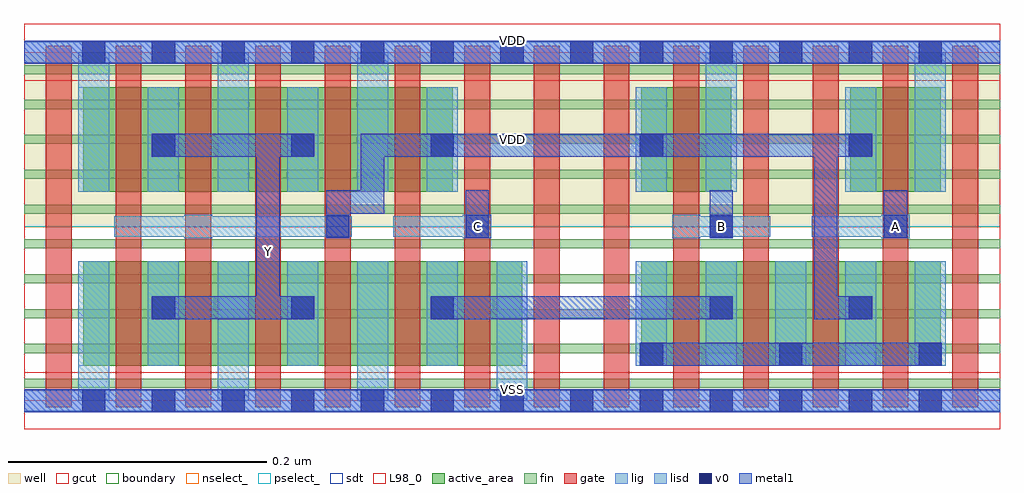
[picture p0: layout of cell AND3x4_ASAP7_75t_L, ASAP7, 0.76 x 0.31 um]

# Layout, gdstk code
import gdstk
lib = gdstk.Library(unit=1e-6, precision=2.5e-10)
def R(c, l, rs):  # rectangles x0, y0, x1, y1
    for r in rs: c.add(gdstk.rectangle(r[:2], r[2:], *l))
def A(c, l, x, y, w, h, nx, ny, dx, dy):  # array of equal rectangles
    R(c, l, [(x+i*dx, y+j*dy, x+i*dx+w, y+j*dy+h) for i in range(nx) for j in range(ny)])
def P(c, l, *ps):  # polygons
    for p in ps: c.add(gdstk.Polygon(p, *l))
well = (1, 0)
fin = (2, 0)
gate = (7, 0)
gcut = (10, 0)
active_area = (11, 0)
nselect_ = (12, 0)
pselect_ = (13, 0)
lig = (16, 0)
lisd = (17, 0)
v0 = (18, 0)
metal1 = (19, 0)
sdt = (88, 0)
L98_0 = (98, 0)
boundary = (100, 0)

and3x4_asap7_75t_l = lib.new_cell('AND3x4_ASAP7_75t_L')
R(and3x4_asap7_75t_l, well, [(0,0.135,0.756,0.27)])
A(and3x4_asap7_75t_l, fin, 0, 0.01, 0.756, 0.007, 1, 10, 0, 0.027)
A(and3x4_asap7_75t_l, gate, 0.017, -0.005, 0.02, 0.28, 14, 1, 0.054, 0)
R(and3x4_asap7_75t_l, gcut, [(0,-0.022,0.756,0.022), (0,0.248,0.756,0.292)])
R(and3x4_asap7_75t_l, active_area, [(0.046,0.027,0.386,0.108), (0.478,0.027,0.71,0.108), (0.046,0.162,0.332,0.243), (0.478,0.162,0.548,0.243), (0.64,0.162,0.71,0.243)])
R(and3x4_asap7_75t_l, nselect_, [(0,0,0.756,0.135)])
R(and3x4_asap7_75t_l, pselect_, [(0,0.135,0.756,0.27)])
A(and3x4_asap7_75t_l, lig, 0.34, 0.126, 0.022, 0.018, 3, 1, 0.162, 0)
R(and3x4_asap7_75t_l, lig, [(0,-0.008,0.756,0.008), (0.124,0.126,0.146,0.144), (0.07,0.127,0.254,0.143), (0.286,0.127,0.362,0.143), (0.502,0.127,0.578,0.143), (0.61,0.127,0.686,0.143), (0,0.262,0.756,0.278)])
A(and3x4_asap7_75t_l, lisd, 0.096, 0.027, 0.024, 0.081, 3, 2, 0.108, 0.135)
A(and3x4_asap7_75t_l, lisd, 0.474, 0.027, 0.024, 0.081, 5, 1, 0.054, 0)
R(and3x4_asap7_75t_l, lisd, [(0.042,0,0.066,0.108), (0.042,0,0.066,0.108), (0.15,0,0.174,0.108), (0.15,0,0.174,0.108), (0.258,0,0.282,0.108), (0.258,0,0.282,0.108), (0.366,0,0.39,0.108), (0.366,0,0.39,0.108), (0.042,0.162,0.066,0.27), (0.042,0.162,0.066,0.27), (0.15,0.162,0.174,0.27), (0.15,0.162,0.174,0.27), (0.258,0.162,0.282,0.27), (0.258,0.162,0.282,0.27), (0.474,0.162,0.498,0.243), (0.528,0.162,0.552,0.27), (0.528,0.162,0.552,0.27), (0.636,0.162,0.66,0.243), (0.69,0.162,0.714,0.27), (0.69,0.162,0.714,0.27)])
A(and3x4_asap7_75t_l, v0, 0.045, -0.009, 0.018, 0.018, 13, 2, 0.054, 0.27)
A(and3x4_asap7_75t_l, v0, 0.477, 0.027, 0.018, 0.018, 3, 1, 0.108, 0)
A(and3x4_asap7_75t_l, v0, 0.099, 0.063, 0.018, 0.018, 3, 2, 0.108, 0.126)
R(and3x4_asap7_75t_l, v0, [(0.531,0.063,0.549,0.081), (0.639,0.063,0.657,0.081), (0.234,0.126,0.252,0.144), (0.342,0.126,0.36,0.144), (0.531,0.126,0.549,0.144), (0.666,0.126,0.684,0.144), (0.477,0.189,0.495,0.207), (0.639,0.189,0.657,0.207)])
A(and3x4_asap7_75t_l, metal1, 0.477, 0.027, 0.018, 0.018, 3, 1, 0.108, 0)
A(and3x4_asap7_75t_l, metal1, 0.099, 0.063, 0.018, 0.018, 3, 2, 0.108, 0.126)
R(and3x4_asap7_75t_l, metal1, [(0,-0.009,0.756,0.009), (0.477,0.027,0.711,0.045), (0.315,0.063,0.549,0.081), (0.531,0.063,0.549,0.081), (0.639,0.063,0.657,0.081), (0.234,0.126,0.252,0.144), (0.342,0.126,0.36,0.144), (0.342,0.126,0.36,0.163), (0.531,0.126,0.549,0.144), (0.531,0.126,0.549,0.163), (0.666,0.126,0.684,0.144), (0.666,0.126,0.684,0.163), (0.477,0.189,0.495,0.207), (0.639,0.189,0.657,0.207), (0,0.261,0.756,0.279)])
P(and3x4_asap7_75t_l, metal1, [(0.657,0.189),(0.657,0.207),(0.261,0.207),(0.261,0.163),(0.234,0.163),(0.234,0.126),(0.252,0.126),(0.252,0.145),(0.279,0.145),(0.279,0.189),(0.612,0.189),(0.612,0.063),(0.657,0.063),(0.657,0.081),(0.63,0.081),(0.63,0.189)],
  [(0.225,0.189),(0.225,0.207),(0.099,0.207),(0.099,0.189),(0.18,0.189),(0.18,0.081),(0.099,0.081),(0.099,0.063),(0.225,0.063),(0.225,0.081),(0.198,0.081),(0.198,0.189)])
A(and3x4_asap7_75t_l, sdt, 0.042, 0.027, 0.024, 0.081, 3, 2, 0.054, 0.135)
A(and3x4_asap7_75t_l, sdt, 0.15, 0.027, 0.024, 0.081, 3, 2, 0.054, 0.135)
A(and3x4_asap7_75t_l, sdt, 0.258, 0.027, 0.024, 0.081, 3, 1, 0.054, 0)
A(and3x4_asap7_75t_l, sdt, 0.474, 0.027, 0.024, 0.081, 5, 1, 0.054, 0)
R(and3x4_asap7_75t_l, sdt, [(0.042,0.027,0.066,0.108), (0.366,0.027,0.39,0.108), (0.042,0.162,0.066,0.243), (0.258,0.162,0.282,0.243), (0.312,0.162,0.336,0.243), (0.474,0.162,0.498,0.243), (0.528,0.162,0.552,0.243), (0.528,0.162,0.552,0.243), (0.636,0.162,0.66,0.243), (0.69,0.162,0.714,0.243), (0.69,0.162,0.714,0.243)])
R(and3x4_asap7_75t_l, L98_0, [(0,0,0.756,0.27)])
R(and3x4_asap7_75t_l, boundary, [(0,0,0.756,0.27)])
and3x4_asap7_75t_l.add(gdstk.Label('VDD', (0.378,0.2025), layer=1, texttype=251))
and3x4_asap7_75t_l.add(gdstk.Label('VSS', (0.378,-0.0675), layer=3, texttype=251))
and3x4_asap7_75t_l.add(gdstk.Label('VSS', (0.378,0.009), layer=19, texttype=251))
and3x4_asap7_75t_l.add(gdstk.Label('VDD', (0.378,0.279), layer=19, texttype=251))
and3x4_asap7_75t_l.add(gdstk.Label('Y', (0.189,0.116), layer=19, texttype=251))
and3x4_asap7_75t_l.add(gdstk.Label('C', (0.351,0.135), layer=19, texttype=251))
and3x4_asap7_75t_l.add(gdstk.Label('B', (0.54,0.135), layer=19, texttype=251))
and3x4_asap7_75t_l.add(gdstk.Label('A', (0.675,0.135), layer=19, texttype=251))

lib.write_gds('AND3x4_ASAP7_75t_L.gds')
